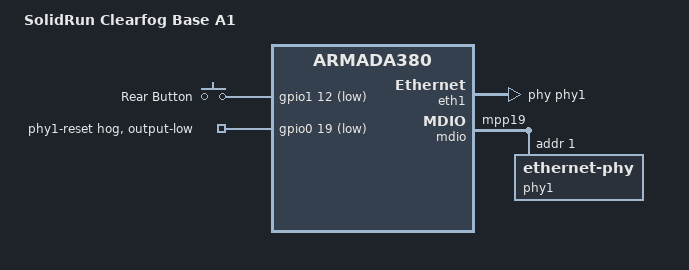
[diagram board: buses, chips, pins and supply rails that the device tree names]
// SPDX-License-Identifier: (GPL-2.0 OR MIT)
/*
 * Device Tree file for SolidRun Clearfog Base revision A1 rev 2.0 (88F6828)
 *
 *  Copyright (C) 2015 Russell King
 */

/dts-v1/;
#include "armada-388-clearfog.dtsi"

/ {
	model = "SolidRun Clearfog Base A1";
	compatible = "solidrun,clearfog-base-a1",
		"solidrun,clearfog-a1", "marvell,armada388",
		"marvell,armada385", "marvell,armada380";

	gpio-keys {
		compatible = "gpio-keys";
		pinctrl-0 = <&rear_button_pins>;
		pinctrl-names = "default";

		button-0 {
			/* The rear SW3 button */
			label = "Rear Button";
			gpios = <&gpio1 12 GPIO_ACTIVE_LOW>;
			linux,can-disable;
			linux,code = <BTN_0>;
		};
	};
};

&eth1 {
	phy = <&phy1>;
};

&gpio0 {
	phy1-reset-hog {
		gpio-hog;
		gpios = <19 GPIO_ACTIVE_LOW>;
		output-low;
		line-name = "phy1-reset";
	};
};

&mdio {
	pinctrl-0 = <&mdio_pins &microsom_phy_clk_pins &clearfog_phy_pins>;
	phy1: ethernet-phy@1 {
		/*
		 * Annoyingly, the marvell phy driver configures the LED
		 * register, rather than preserving reset-loaded setting.
		 * We undo that rubbish here.
		 */
		marvell,reg-init = <3 16 0 0x101e>;
		reg = <1>;
	};
};

&pinctrl {
	/* phy1 reset */
	clearfog_phy_pins: clearfog-phy-pins {
		marvell,pins = "mpp19";
		marvell,function = "gpio";
	};
	rear_button_pins: rear-button-pins {
		marvell,pins = "mpp44";
		marvell,function = "gpio";
	};
};
